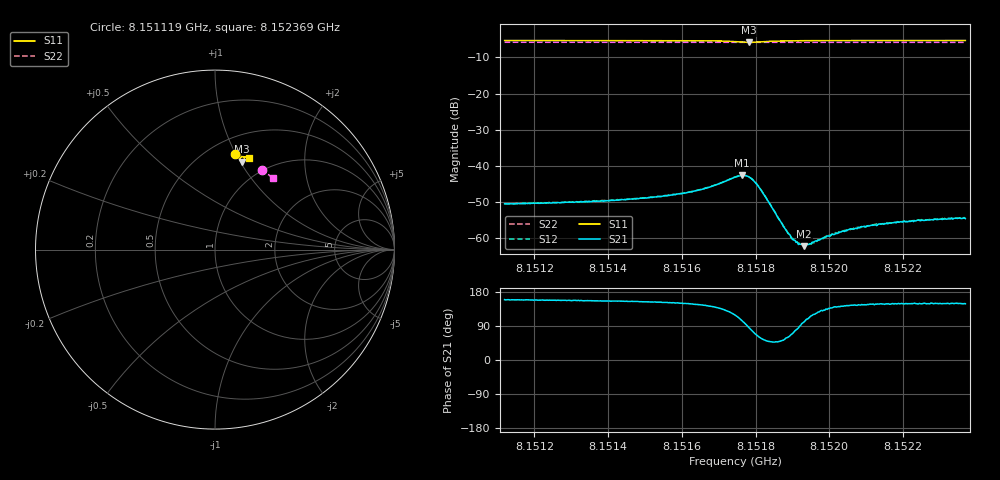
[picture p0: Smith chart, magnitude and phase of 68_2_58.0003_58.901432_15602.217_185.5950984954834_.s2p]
#  HZ  S  RI  R  50.00
! Rohde & Schwarz Vector Network Analyzer
! Rohde-Schwarz,ZNB20-2Port,1311601062101988,3.16
! Created: UTC 3/21/2024, 12:53:17 AM
! freq[Hz]  re:S11  im:S11  re:S21  im:S21  re:S12  im:S12  re:S22  im:S22
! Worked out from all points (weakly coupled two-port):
!   401 points, 8.151119 GHz to 8.152369 GHz, reference 50 ohm
!   highest |S21| = -42.71 dB at 8.151763 GHz (marker M1); lowest = -62.3 dB at 8.151932 GHz (marker M2)
!   lowest |S11| = -5.8 dB at 8.151782 GHz (marker M3), VSWR 3.10, Z = 38.2 + j50.8 ohm
!   |S11| at or under -10 dB: nowhere
!   |S22| runs from -5.8 to -5.8 dB; largest |S21 - S12| = 0.00014
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8.151119e9  0.113 0.5313  -0.00277 0.00105  -0.00278 0.0011  0.2592 0.4441
8.1513284e9  0.1283 0.528  -0.00289 0.00123  -0.00291 0.00132  0.2706 0.4368
8.1514566e9  0.1382 0.5254  -0.00312 0.00147  -0.00308 0.0015  0.2777 0.4322
8.1515379e9  0.1449 0.5232  -0.00331 0.00171  -0.00329 0.00176  0.282 0.4292
8.1516504e9  0.1562 0.5178  -0.00383 0.00262  -0.00384 0.00271  0.2882 0.4249
8.1516973e9  0.1616 0.512  -0.00411 0.0037  -0.00405 0.00379  0.2906 0.423
8.1517442e9  0.1634 0.4991  -0.00334 0.00608  -0.00326 0.00618  0.2927 0.4208
8.151763e9  0.1584 0.4922  -0.00179 0.00709  -0.0017 0.00717  0.2934 0.4199
8.1517817e9  0.1485 0.4903  0.00051 0.00696  0.000628 0.00701  0.2938 0.4193
8.1517942e9  0.1422 0.4936  0.00179 0.00597  0.00187 0.00602  0.2944 0.4191
8.151813e9  0.1383 0.5017  0.00248 0.00403  0.00255 0.00403  0.2954 0.4187
8.1518818e9  0.1484 0.5167  0.000696 0.0011  0.000757 0.00106  0.2993 0.4167
8.1518974e9  0.1508 0.5174  0.000375 0.00092  0.000387 0.000927  0.3001 0.4161
8.1519162e9  0.1534 0.5179  8.15e-05 0.000804  9.99e-05 0.000846  0.3013 0.4152
8.1519318e9  0.1555 0.518  -0.000139 0.000753  -0.000155 0.000796  0.302 0.4147
8.1519537e9  0.158 0.518  -0.000406 0.000767  -0.000375 0.00075  0.3033 0.4138
8.1519943e9  0.1623 0.5177  -0.000728 0.00077  -0.000769 0.000777  0.3053 0.4122
8.1520475e9  0.1673 0.5169  -0.00101 0.000739  -0.00103 0.00077  0.3081 0.4101
8.1520881e9  0.1709 0.5161  -0.00119 0.000793  -0.00118 0.000803  0.3102 0.4085
8.1521631e9  0.1767 0.5146  -0.00135 0.000872  -0.00135 0.000888  0.3139 0.4054
8.1522382e9  0.1824 0.513  -0.00149 0.000918  -0.00146 0.000942  0.3177 0.4023
8.1523695e9  0.1916 0.5099  -0.00158 0.000964  -0.0016 0.000962  0.3242 0.397
